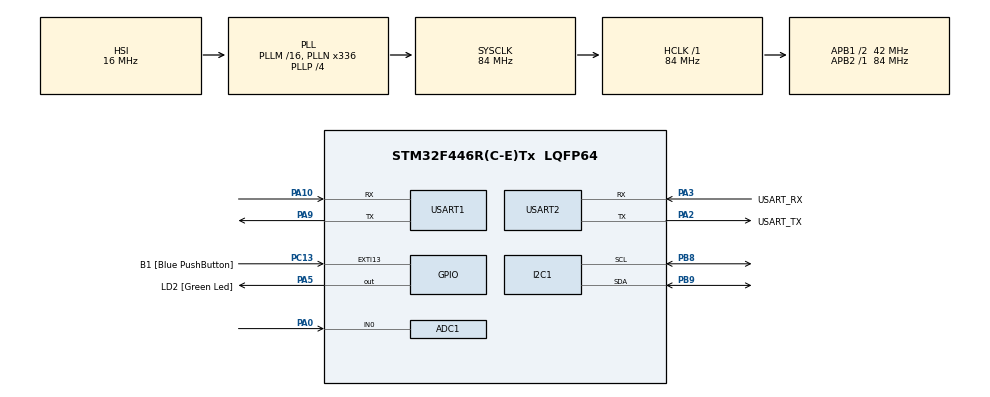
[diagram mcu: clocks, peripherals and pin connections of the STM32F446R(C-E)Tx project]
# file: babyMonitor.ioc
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ADC1.Channel-0\#ChannelRegularConversion=ADC_CHANNEL_0
ADC1.NbrOfConversionFlag=1
ADC1.Rank-0\#ChannelRegularConversion=1
ADC1.SamplingTime-0\#ChannelRegularConversion=ADC_SAMPLETIME_3CYCLES
ADC1.master=1
FREERTOS.Tasks01=defaultTask,24,128,StartDefaultTask,Default,NULL,Dynamic,NULL,NULL
Mcu.Family=STM32F4
Mcu.Name=STM32F446R(C-E)Tx
Mcu.Package=LQFP64
NVIC.PriorityGroup=NVIC_PRIORITYGROUP_4
PA0-WKUP.Signal=ADCx_IN0
PA10.Mode=Asynchronous
PA10.Signal=USART1_RX
PA13.GPIO_Label=TMS
PA13.Mode=Serial_Wire
PA13.Signal=SYS_JTMS-SWDIO
PA14.GPIO_Label=TCK
PA14.Mode=Serial_Wire
PA14.Signal=SYS_JTCK-SWCLK
PA2.GPIO_Label=USART_TX
PA2.Mode=Asynchronous
PA2.Signal=USART2_TX
PA3.GPIO_Label=USART_RX
PA3.Mode=Asynchronous
PA3.Signal=USART2_RX
PA5.GPIO_Label=LD2 [Green Led]
PA5.Signal=GPIO_Output
PA9.Mode=Asynchronous
PA9.Signal=USART1_TX
PB3.GPIO_Label=SWO
PB3.Signal=SYS_JTDO-SWO
PB8.Mode=I2C
PB8.Signal=I2C1_SCL
PB9.Mode=I2C
PB9.Signal=I2C1_SDA
PC13.GPIO_Label=B1 [Blue PushButton]
PC13.GPIO_ModeDefaultEXTI=GPIO_MODE_IT_FALLING
PC13.Signal=GPXTI13
PC14-OSC32_IN.Mode=LSE-External-Oscillator
PC14-OSC32_IN.Signal=RCC_OSC32_IN
PC15-OSC32_OUT.Mode=LSE-External-Oscillator
PC15-OSC32_OUT.Signal=RCC_OSC32_OUT
PH0-OSC_IN.Mode=HSE-External-Oscillator
PH0-OSC_IN.Signal=RCC_OSC_IN
PH1-OSC_OUT.Mode=HSE-External-Oscillator
PH1-OSC_OUT.Signal=RCC_OSC_OUT
ProjectManager.HeapSize=0x200
ProjectManager.StackSize=0x400
ProjectManager.TargetToolchain=STM32CubeIDE
RCC.48MHZClocksFreq_Value=84000000
RCC.AHBFreq_Value=84000000
RCC.APB1CLKDivider=RCC_HCLK_DIV2
RCC.APB1Freq_Value=42000000
RCC.APB1TimFreq_Value=84000000
RCC.APB2Freq_Value=84000000
RCC.APB2TimFreq_Value=84000000
RCC.CortexFreq_Value=84000000
RCC.FLatency-AdvancedSettings=FLASH_LATENCY_2
RCC.HCLKFreq_Value=84000000
RCC.HSE_VALUE=8000000
RCC.HSI_VALUE=16000000
RCC.PLLN=336
RCC.PLLP=RCC_PLLP_DIV4
RCC.SYSCLKFreq_VALUE=84000000
RCC.SYSCLKSource=RCC_SYSCLKSOURCE_PLLCLK
RCC.USBFreq_Value=168000000
RCC.VCOOutputFreq_Value=336000000
SH.ADCx_IN0.0=ADC1_IN0,IN0
USART1.VirtualMode=VM_ASYNC
USART2.VirtualMode=VM_ASYNC
VP_FREERTOS_VS_CMSIS_V2.Mode=CMSIS_V2
board=NUCLEO-F446RE

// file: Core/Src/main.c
/* USER CODE BEGIN Header */
/**
 ******************************************************************************
 * @file    : main.c
 * @brief   : Baby Monitor - FreeRTOS sensor tasks (FINAL)
 *
 * Fixes applied:
 *  1. HAL_Delay(200) after MPU6050_Init() so it wakes up before RTOS starts
 *  2. MPU6050 magnitude uses sqrtf + deviation from 1g (fabsf(mag - 1.0f))
 *  3. Motion alert threshold updated to 0.1f
 *  4. WHO_AM_I check on boot — prints 0x68 if wiring is correct
 *  5. UART_TX fixed to use g_max_temp (not g_amb_temp) for BODY_TEMP
 *  6. UART_TX sends to both huart1 (ESP32) and huart2 (debug)
 ******************************************************************************
 */
/* USER CODE END Header */

#include "main.h"
#include "cmsis_os.h"

/* USER CODE BEGIN Includes */
#include <stdio.h>
#include <string.h>
#include <math.h>
/* USER CODE END Includes */

/* USER CODE BEGIN PD */
#define MLX90614_ADDR       (0x5A << 1)
#define MAX30102_ADDR       (0x57 << 1)
#define MPU6050_ADDR        (0x68 << 1)

#define TEMP_LOW            36.0f
#define TEMP_HIGH           37.5f
#define NO_MOTION_WARN      (40 * 60 * 1000)
#define BODY_TEMP_OFFSET    6.5f

#define SOUND_THRESHOLD     500
#define SOUND_LOUD_MS       1500
#define SOUND_QUIET_MS      3000
#define SOUND_DEVIATION     300
/* USER CODE END PD */

I2C_HandleTypeDef hi2c1;
UART_HandleTypeDef huart1;
UART_HandleTypeDef huart2;
ADC_HandleTypeDef hadc1;

osThreadId_t defaultTaskHandle;
const osThreadAttr_t defaultTask_attributes = {
    .name = "defaultTask",
    .stack_size = 128 * 4,
    .priority = (osPriority_t) osPriorityNormal,
};

/* USER CODE BEGIN PV */
osThreadId_t maxTaskHandle;
osThreadId_t motionTaskHandle;
osThreadId_t uartTxTaskHandle;
osThreadId_t soundTaskHandle;
osThreadId_t mlxTaskHandle;

const osThreadAttr_t maxTask_attr    = { .name = "MAXTask",    .stack_size = 512*4, .priority = osPriorityNormal };
const osThreadAttr_t motionTask_attr = { .name = "MotionTask", .stack_size = 256*4, .priority = osPriorityNormal };
const osThreadAttr_t uartTxTask_attr = { .name = "UARTTxTask", .stack_size = 256*4, .priority = osPriorityNormal };
const osThreadAttr_t soundTask_attr  = { .name = "SoundTask",  .stack_size = 512*4, .priority = osPriorityNormal };
const osThreadAttr_t mlxTask_attr    = { .name = "MLXTask",    .stack_size = 256*4, .priority = osPriorityNormal };

volatile float    g_temp      = 0.0f;
volatile float    g_amb_temp  = 0.0f;
volatile uint32_t g_bpm       = 0;
volatile float    g_motion    = 0.0f;
volatile uint8_t  g_finger    = 0;
volatile float    g_spo2      = 0.0f;
volatile uint32_t g_sound     = 0;
volatile float    g_max_temp  = 0.0f;
/* USER CODE END PV */

void SystemClock_Config(void);
static void MX_GPIO_Init(void);
static void MX_I2C1_Init(void);
static void MX_USART1_UART_Init(void);
static void MX_USART2_UART_Init(void);
static void MX_ADC1_Init(void);
void StartDefaultTask(void *argument);

/* USER CODE BEGIN PFP */
void Task_MAX30102(void *argument);
void Task_MLX90614(void *argument);
void Task_Motion(void *argument);
void Task_UART_TX(void *argument);
void Task_Sound(void *argument);

void     UART_Print(const char *msg);
float    MLX90614_ReadTemp(void);
float    MLX90614_ReadAmbientTemp(void);
void     MAX30102_Init(void);
uint32_t MAX30102_ReadIR(void);
uint32_t MAX30102_ReadRed(void);
float    MAX30102_ReadTemp(void);
void     MPU6050_Init(void);
float    MPU6050_GetMotionMagnitude(void);
uint32_t HW484_ReadSound(void);
/* USER CODE END PFP */

/* USER CODE BEGIN 0 */

void UART_Print(const char *msg) {
    HAL_UART_Transmit(&huart2, (uint8_t*)msg, strlen(msg), HAL_MAX_DELAY);
}

uint32_t HW484_ReadSound(void) {
    HAL_ADC_Start(&hadc1);
    if (HAL_ADC_PollForConversion(&hadc1, 10) == HAL_OK) {
        uint32_t value = HAL_ADC_GetValue(&hadc1);
        HAL_ADC_Stop(&hadc1);
        return value;
    }
    HAL_ADC_Stop(&hadc1);
    return 0;
}

float MLX90614_ReadTemp(void) {
    uint8_t buf[3] = {0};
    HAL_StatusTypeDef status = HAL_I2C_Mem_Read(
        &hi2c1, MLX90614_ADDR, 0x07, I2C_MEMADD_SIZE_8BIT, buf, 3, 100);
    if (status != HAL_OK) return -999.0f;
    uint16_t raw = ((uint16_t)buf[1] << 8) | buf[0];
    return raw * 0.02f - 273.15f;
}

float MLX90614_ReadAmbientTemp(void) {
    uint8_t buf[3] = {0};
    HAL_StatusTypeDef status = HAL_I2C_Mem_Read(
        &hi2c1, MLX90614_ADDR, 0x06, I2C_MEMADD_SIZE_8BIT, buf, 3, 100);
    if (status != HAL_OK) return -999.0f;
    uint16_t raw = ((uint16_t)buf[1] << 8) | buf[0];
    return raw * 0.02f - 273.15f;
}

void MAX30102_WriteReg(uint8_t reg, uint8_t val) {
    uint8_t buf[2] = {reg, val};
    HAL_I2C_Master_Transmit(&hi2c1, MAX30102_ADDR, buf, 2, HAL_MAX_DELAY);
}

void MAX30102_Init(void) {
    MAX30102_WriteReg(0x09, 0x40);
    HAL_Delay(100);
    MAX30102_WriteReg(0x04, 0x00);
    MAX30102_WriteReg(0x05, 0x00);
    MAX30102_WriteReg(0x06, 0x00);
    MAX30102_WriteReg(0x09, 0x03);
    MAX30102_WriteReg(0x0A, 0x27);
    MAX30102_WriteReg(0x0C, 0x3F);
    MAX30102_WriteReg(0x0D, 0x3F);
}

uint32_t MAX30102_ReadIR(void) {
    uint8_t buf[6] = {0};
    HAL_I2C_Mem_Read(&hi2c1, MAX30102_ADDR, 0x07, I2C_MEMADD_SIZE_8BIT, buf, 6, 100);
    uint32_t ir = ((uint32_t)buf[3] << 16) | ((uint32_t)buf[4] << 8) | buf[5];
    return ir & 0x3FFFF;
}

uint32_t MAX30102_ReadRed(void) {
    uint8_t buf[6] = {0};
    HAL_I2C_Mem_Read(&hi2c1, MAX30102_ADDR, 0x07, I2C_MEMADD_SIZE_8BIT, buf, 6, 100);
    uint32_t red = ((uint32_t)buf[0] << 16) | ((uint32_t)buf[1] << 8) | buf[2];
    return red & 0x3FFFF;
}

float MAX30102_ReadTemp(void) {
    MAX30102_WriteReg(0x21, 0x01);
    HAL_Delay(100);
    uint8_t t_int  = 0;
    uint8_t t_frac = 0;
    HAL_I2C_Mem_Read(&hi2c1, MAX30102_ADDR, 0x1F, I2C_MEMADD_SIZE_8BIT, &t_int,  1, 100);
    HAL_I2C_Mem_Read(&hi2c1, MAX30102_ADDR, 0x20, I2C_MEMADD_SIZE_8BIT, &t_frac, 1, 100);
    return (float)((int8_t)t_int) + ((float)t_frac * 0.0625f);
}

void MPU6050_Init(void) {
    uint8_t buf[2] = {0x6B, 0x00};  // wake up — clear sleep bit
    HAL_I2C_Master_Transmit(&hi2c1, MPU6050_ADDR, buf, 2, HAL_MAX_DELAY);
}

/*
 * FIX: previously returned sum-of-squares which always reads ~1.0 due to gravity.
 * Now returns deviation from 1g using sqrtf — so rest = ~0, movement > 0.
 * Threshold in Task_Motion updated to 0.1f accordingly.
 */
float MPU6050_GetMotionMagnitude(void) {
    uint8_t buf[6] = {0};
    HAL_StatusTypeDef status = HAL_I2C_Mem_Read(
        &hi2c1, MPU6050_ADDR, 0x3B, I2C_MEMADD_SIZE_8BIT, buf, 6, 100);
    if (status != HAL_OK) return 0.0f;

    int16_t ax = (buf[0] << 8) | buf[1];
    int16_t ay = (buf[2] << 8) | buf[3];
    int16_t az = (buf[4] << 8) | buf[5];

    float ax_g = ax / 16384.0f;
    float ay_g = ay / 16384.0f;
    float az_g = az / 16384.0f;

    float mag = sqrtf(ax_g*ax_g + ay_g*ay_g + az_g*az_g);
    return fabsf(mag - 1.0f);  // deviation from gravity baseline
}

/* USER CODE END 0 */

int main(void)
{
    HAL_Init();
    SystemClock_Config();

    MX_GPIO_Init();
    MX_I2C1_Init();
    MX_USART1_UART_Init();
    MX_USART2_UART_Init();
    MX_ADC1_Init();

    /* USER CODE BEGIN 2 */
    MAX30102_Init();
    MPU6050_Init();
    HAL_Delay(200);  // FIX: give MPU6050 time to wake up before RTOS starts

    // WHO_AM_I sanity check — should print 0x68 if wiring + address are correct
    uint8_t who = 0;
    HAL_I2C_Mem_Read(&hi2c1, MPU6050_ADDR, 0x75, I2C_MEMADD_SIZE_8BIT, &who, 1, 100);
    char dbg[48];
    snprintf(dbg, sizeof(dbg), "MPU6050 WHO_AM_I: 0x%02X (expect 0x68)\r\n", who);
    UART_Print(dbg);

    UART_Print("Baby Monitor Starting...\r\n");
    /* USER CODE END 2 */

    osKernelInitialize();

    defaultTaskHandle = osThreadNew(StartDefaultTask, NULL, &defaultTask_attributes);

    /* USER CODE BEGIN RTOS_THREADS */
    maxTaskHandle    = osThreadNew(Task_MAX30102, NULL, &maxTask_attr);
    mlxTaskHandle    = osThreadNew(Task_MLX90614, NULL, &mlxTask_attr);
    motionTaskHandle = osThreadNew(Task_Motion,   NULL, &motionTask_attr);
    uartTxTaskHandle = osThreadNew(Task_UART_TX,  NULL, &uartTxTask_attr);
    soundTaskHandle  = osThreadNew(Task_Sound,    NULL, &soundTask_attr);
    /* USER CODE END RTOS_THREADS */

    osKernelStart();

    while (1) {}
}

/* USER CODE BEGIN 4 */

// ── MAX30102 Task ─────────────────────────────────────────
void Task_MAX30102(void *argument) {
    char msg[64];
    uint32_t prev_ir       = 0;
    uint8_t  rising        = 0;
    uint32_t last_beat_time = 0;
    uint32_t beat_intervals[4] = {0};
    uint8_t  beat_idx      = 0;
    uint8_t  beat_count    = 0;
    float    filtered      = 0;
    float    alpha         = 0.95f;
    uint32_t lastPrint     = 0;
    uint32_t lastSPO2      = 0;
    uint32_t lastTEMP      = 0;

    osDelay(200);

    for (;;) {
        uint32_t now = osKernelGetTickCount();

        uint32_t ir = MAX30102_ReadIR();
        osDelay(15);

        if (ir < 50000) {
            g_finger   = 0;
            g_bpm      = 0;
            g_spo2     = 0.0f;
            g_max_temp = 0.0f;
            filtered   = 0;
            prev_ir    = 0;
            rising     = 0;
            last_beat_time = 0;
            beat_count = 0;
            beat_idx   = 0;
            if ((now - lastPrint) >= 2000) {
                UART_Print("[FNG] 0\r\n");
                lastPrint = now;
            }
            osDelay(200);
            continue;
        }

        g_finger  = 1;
        filtered  = alpha * (filtered + (float)ir - (float)prev_ir);
        prev_ir   = ir;

        if (!rising && filtered > 100.0f) {
            rising = 1;
            if (last_beat_time > 0) {
                uint32_t interval = now - last_beat_time;
                if (interval > 300 && interval < 2000) {
                    beat_intervals[beat_idx % 4] = interval;
                    beat_idx++;
                    beat_count++;
                    if (beat_count >= 4) {
                        uint32_t avg = (beat_intervals[0] + beat_intervals[1] +
                                        beat_intervals[2] + beat_intervals[3]) / 4;
                        g_bpm = 60000 / avg;
                    }
                }
            }
            last_beat_time = now;
        } else if (filtered < -100.0f) {
            rising = 0;
        }

        if ((now - lastPrint) >= 2000) {
            UART_Print("[FNG] 1\r\n");
            if (g_bpm > 0) {
                snprintf(msg, sizeof(msg), "[HR] BPM: %lu\r\n", g_bpm);
                UART_Print(msg);
            }
            lastPrint = now;
        }

        if ((now - lastSPO2) >= 4000) {
            osDelay(15);
            uint32_t red = MAX30102_ReadRed();
            osDelay(15);
            uint32_t ir2 = MAX30102_ReadIR();
            if (ir2 > 50000) {
                float ratio = (float)red / (float)ir2;
                float spo2  = 100.0f - 5.0f * ratio;
                if (spo2 > 100.0f) spo2 = 100.0f;
                if (spo2 <   0.0f) spo2 = 0.0f;
                g_spo2 = spo2;
                snprintf(msg, sizeof(msg), "[SPO2] %.1f%%\r\n", spo2);
                UART_Print(msg);
            }
            lastSPO2 = now;
        }

        if ((now - lastTEMP) >= 10000) {
            osDelay(15);
            float temp = MAX30102_ReadTemp();
            g_max_temp = temp + BODY_TEMP_OFFSET;
            snprintf(msg, sizeof(msg), "[BODY_TEMP] %.2f C\r\n", temp);
            UART_Print(msg);
            lastTEMP = now;
        }

        osDelay(20);
    }
}

// ── MLX90614 Task ─────────────────────────────────────────
void Task_MLX90614(void *argument) {
    char msg[64];
    osDelay(500);

    for (;;) {
        float body = MLX90614_ReadTemp();
        float amb  = MLX90614_ReadAmbientTemp();

        if (body > -900.0f) {
            g_temp = body;
            snprintf(msg, sizeof(msg), "[RTEMP] %.2f C\r\n", body);
            UART_Print(msg);
        }

        if (amb > -900.0f) {
            g_amb_temp = amb;
        }

        osDelay(4000);
    }
}

// ── Motion Task ───────────────────────────────────────────
void Task_Motion(void *argument) {
    char msg[64];
    uint32_t lastMotionTime = osKernelGetTickCount();
    osDelay(300);

    for (;;) {
        // FIX: now returns deviation from 1g — rest = ~0, movement > 0
        float mag = MPU6050_GetMotionMagnitude();
        g_motion  = mag;

        snprintf(msg, sizeof(msg), "[MOT] %.3f g-dev\r\n", mag);
        UART_Print(msg);

        // FIX: threshold changed from 1.05f to 0.1f to match new magnitude formula
        if (mag > 0.1f)
            lastMotionTime = osKernelGetTickCount();

        uint32_t elapsed = osKernelGetTickCount() - lastMotionTime;
        if (elapsed > NO_MOTION_WARN)
            UART_Print("[ALERT] No movement 40+ min!\r\n");
        else if (elapsed > (20 * 60 * 1000))
            UART_Print("[WARN] No movement 20+ min!\r\n");

        osDelay(2000);
    }
}

// ── Sound Task ────────────────────────────────────────────
void Task_Sound(void *argument) {
    char msg[64];
    uint32_t baseline    = 2048;
    uint32_t loud_onset  = 0;
    uint32_t quiet_onset = 0;
    uint32_t last_alert  = 0;
    uint32_t last_ok     = 0;

    typedef enum { SOUND_QUIET, SOUND_DETECTING, SOUND_ALERT } SoundState_t;
    SoundState_t state = SOUND_QUIET;

    osDelay(500);
    uint32_t sum = 0;
    for (int i = 0; i < 16; i++) {
        sum += HW484_ReadSound();
        osDelay(20);
    }
    baseline = sum / 16;

    snprintf(msg, sizeof(msg), "[SOUND] Baseline: %lu\r\n", baseline);
    UART_Print(msg);

    for (;;) {
        uint32_t adc_val  = HW484_ReadSound();
        g_sound           = (adc_val * 100) / 1100;
        if (g_sound > 100)  g_sound = 100;

        int32_t deviation = (int32_t)adc_val - (int32_t)baseline;
        if (deviation < 0) deviation = -deviation;
        uint8_t  is_loud  = (deviation >= SOUND_DEVIATION);
        uint32_t now      = osKernelGetTickCount();

        switch (state) {
            case SOUND_QUIET:
                if (is_loud) {
                    loud_onset = now;
                    state = SOUND_DETECTING;
                } else if ((now - last_ok) >= 10000) {
                    snprintf(msg, sizeof(msg), "[SOUND] OK, ADC:%lu\r\n", adc_val);
                    UART_Print(msg);
                    last_ok = now;
                }
                break;

            case SOUND_DETECTING:
                if (!is_loud) {
                    state = SOUND_QUIET;
                } else if ((now - loud_onset) >= SOUND_LOUD_MS) {
                    state = SOUND_ALERT;
                    snprintf(msg, sizeof(msg), "[ALERT] Crying! ADC:%lu\r\n", adc_val);
                    UART_Print(msg);
                    last_alert  = now;
                    quiet_onset = 0;
                }
                break;

            case SOUND_ALERT:
                if (!is_loud) {
                    if (quiet_onset == 0) quiet_onset = now;
                    else if ((now - quiet_onset) >= SOUND_QUIET_MS) {
                        state       = SOUND_QUIET;
                        quiet_onset = 0;
                        UART_Print("[SOUND] Quiet again\r\n");
                        last_ok = now;
                    }
                } else {
                    quiet_onset = 0;
                    if ((now - last_alert) >= 5000) {
                        snprintf(msg, sizeof(msg), "[ALERT] Still crying! ADC:%lu\r\n", adc_val);
                        UART_Print(msg);
                        last_alert = now;
                    }
                }
                break;
        }

        osDelay(50);
    }
}

// ── UART TX Task — sends full packet to ESP32 + debug ────
void Task_UART_TX(void *argument) {
    char msg[128];
    for (;;) {
        // FIX: use g_max_temp for BODY_TEMP (was incorrectly using g_amb_temp)
        snprintf(msg, sizeof(msg),
            "TEMP:%.2f,BPM:%lu,MOT:%.3f,FNG:%d,BODY_TEMP:%.2f,SPO2:%.1f,SND:%lu\r\n",
            g_temp, g_bpm, g_motion, g_finger, g_max_temp, g_spo2, g_sound);

        HAL_UART_Transmit(&huart1, (uint8_t*)msg, strlen(msg), HAL_MAX_DELAY); // ESP32
        HAL_UART_Transmit(&huart2, (uint8_t*)msg, strlen(msg), HAL_MAX_DELAY); // debug
        osDelay(1000);
    }
}

/* USER CODE END 4 */

void StartDefaultTask(void *argument) {
    for (;;) { osDelay(1); }
}

void Error_Handler(void) {
    __disable_irq();
    while (1) {}
}

void SystemClock_Config(void) {
    RCC_OscInitTypeDef RCC_OscInitStruct = {0};
    RCC_ClkInitTypeDef RCC_ClkInitStruct = {0};

    __HAL_RCC_PWR_CLK_ENABLE();
    __HAL_PWR_VOLTAGESCALING_CONFIG(PWR_REGULATOR_VOLTAGE_SCALE3);

    RCC_OscInitStruct.OscillatorType      = RCC_OSCILLATORTYPE_HSI;
    RCC_OscInitStruct.HSIState            = RCC_HSI_ON;
    RCC_OscInitStruct.HSICalibrationValue = RCC_HSICALIBRATION_DEFAULT;
    RCC_OscInitStruct.PLL.PLLState        = RCC_PLL_ON;
    RCC_OscInitStruct.PLL.PLLSource       = RCC_PLLSOURCE_HSI;
    RCC_OscInitStruct.PLL.PLLM            = 16;
    RCC_OscInitStruct.PLL.PLLN            = 336;
    RCC_OscInitStruct.PLL.PLLP            = RCC_PLLP_DIV4;
    RCC_OscInitStruct.PLL.PLLQ            = 2;
    RCC_OscInitStruct.PLL.PLLR            = 2;
    if (HAL_RCC_OscConfig(&RCC_OscInitStruct) != HAL_OK) Error_Handler();

    RCC_ClkInitStruct.ClockType      = RCC_CLOCKTYPE_HCLK | RCC_CLOCKTYPE_SYSCLK
                                     | RCC_CLOCKTYPE_PCLK1 | RCC_CLOCKTYPE_PCLK2;
    RCC_ClkInitStruct.SYSCLKSource   = RCC_SYSCLKSOURCE_PLLCLK;
    RCC_ClkInitStruct.AHBCLKDivider  = RCC_SYSCLK_DIV1;
    RCC_ClkInitStruct.APB1CLKDivider = RCC_HCLK_DIV2;
    RCC_ClkInitStruct.APB2CLKDivider = RCC_HCLK_DIV1;
    if (HAL_RCC_ClockConfig(&RCC_ClkInitStruct, FLASH_LATENCY_2) != HAL_OK) Error_Handler();
}

static void MX_I2C1_Init(void) {
    hi2c1.Instance             = I2C1;
    hi2c1.Init.ClockSpeed      = 100000;
    hi2c1.Init.DutyCycle       = I2C_DUTYCYCLE_2;
    hi2c1.Init.OwnAddress1     = 0;
    hi2c1.Init.AddressingMode  = I2C_ADDRESSINGMODE_7BIT;
    hi2c1.Init.DualAddressMode = I2C_DUALADDRESS_DISABLE;
    hi2c1.Init.OwnAddress2     = 0;
    hi2c1.Init.GeneralCallMode = I2C_GENERALCALL_DISABLE;
    hi2c1.Init.NoStretchMode   = I2C_NOSTRETCH_DISABLE;
    if (HAL_I2C_Init(&hi2c1) != HAL_OK) Error_Handler();
}

static void MX_USART1_UART_Init(void) {
    huart1.Instance          = USART1;
    huart1.Init.BaudRate     = 115200;
    huart1.Init.WordLength   = UART_WORDLENGTH_8B;
    huart1.Init.StopBits     = UART_STOPBITS_1;
    huart1.Init.Parity       = UART_PARITY_NONE;
    huart1.Init.Mode         = UART_MODE_TX_RX;
    huart1.Init.HwFlowCtl    = UART_HWCONTROL_NONE;
    huart1.Init.OverSampling = UART_OVERSAMPLING_16;
    if (HAL_UART_Init(&huart1) != HAL_OK) Error_Handler();
}

static void MX_USART2_UART_Init(void) {
    huart2.Instance          = USART2;
    huart2.Init.BaudRate     = 115200;
    huart2.Init.WordLength   = UART_WORDLENGTH_8B;
    huart2.Init.StopBits     = UART_STOPBITS_1;
    huart2.Init.Parity       = UART_PARITY_NONE;
    huart2.Init.Mode         = UART_MODE_TX_RX;
    huart2.Init.HwFlowCtl    = UART_HWCONTROL_NONE;
    huart2.Init.OverSampling = UART_OVERSAMPLING_16;
    if (HAL_UART_Init(&huart2) != HAL_OK) Error_Handler();
}

static void MX_ADC1_Init(void) {
    ADC_ChannelConfTypeDef sConfig = {0};

    hadc1.Instance                   = ADC1;
    hadc1.Init.ClockPrescaler        = ADC_CLOCK_SYNC_PCLK_DIV4;
    hadc1.Init.Resolution            = ADC_RESOLUTION_12B;
    hadc1.Init.ScanConvMode          = DISABLE;
    hadc1.Init.ContinuousConvMode    = DISABLE;
    hadc1.Init.DiscontinuousConvMode = DISABLE;
    hadc1.Init.ExternalTrigConvEdge  = ADC_EXTERNALTRIGCONVEDGE_NONE;
    hadc1.Init.ExternalTrigConv      = ADC_SOFTWARE_START;
    hadc1.Init.DataAlign             = ADC_DATAALIGN_RIGHT;
    hadc1.Init.NbrOfConversion       = 1;
    hadc1.Init.DMAContinuousRequests = DISABLE;
    hadc1.Init.EOCSelection          = ADC_EOC_SINGLE_CONV;
    if (HAL_ADC_Init(&hadc1) != HAL_OK) Error_Handler();

    sConfig.Channel      = ADC_CHANNEL_1;
    sConfig.Rank         = 1;
    sConfig.SamplingTime = ADC_SAMPLETIME_480CYCLES;
    if (HAL_ADC_ConfigChannel(&hadc1, &sConfig) != HAL_OK) Error_Handler();
}

static void MX_GPIO_Init(void) {
    GPIO_InitTypeDef GPIO_InitStruct = {0};

    __HAL_RCC_GPIOC_CLK_ENABLE();
    __HAL_RCC_GPIOH_CLK_ENABLE();
    __HAL_RCC_GPIOA_CLK_ENABLE();
    __HAL_RCC_GPIOB_CLK_ENABLE();

    HAL_GPIO_WritePin(LD2_GPIO_Port, LD2_Pin, GPIO_PIN_RESET);

    GPIO_InitStruct.Pin  = B1_Pin;
    GPIO_InitStruct.Mode = GPIO_MODE_IT_FALLING;
    GPIO_InitStruct.Pull = GPIO_NOPULL;
    HAL_GPIO_Init(B1_GPIO_Port, &GPIO_InitStruct);

    GPIO_InitStruct.Pin   = LD2_Pin;
    GPIO_InitStruct.Mode  = GPIO_MODE_OUTPUT_PP;
    GPIO_InitStruct.Pull  = GPIO_NOPULL;
    GPIO_InitStruct.Speed = GPIO_SPEED_FREQ_LOW;
    HAL_GPIO_Init(LD2_GPIO_Port, &GPIO_InitStruct);

    // PA1 = ADC1_IN1 for HW-484 sound sensor AO pin
    GPIO_InitStruct.Pin  = GPIO_PIN_1;
    GPIO_InitStruct.Mode = GPIO_MODE_ANALOG;
    GPIO_InitStruct.Pull = GPIO_NOPULL;
    HAL_GPIO_Init(GPIOA, &GPIO_InitStruct);
}
